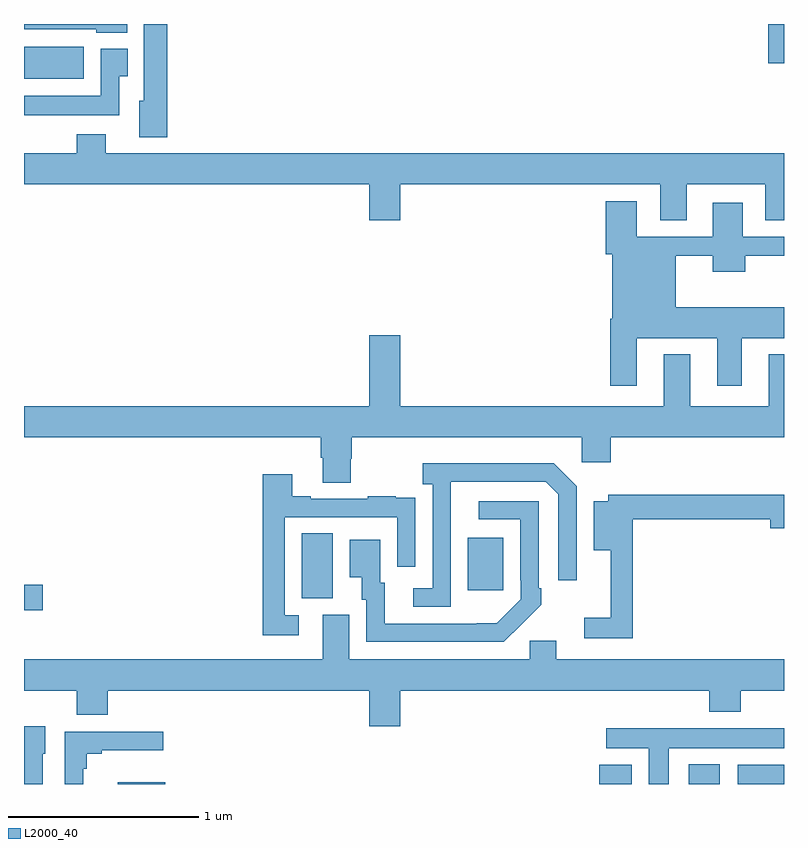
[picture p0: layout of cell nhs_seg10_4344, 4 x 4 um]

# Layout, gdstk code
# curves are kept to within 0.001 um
import gdstk
lib = gdstk.Library(unit=1e-6, precision=1e-09)
def R(c, l, rs):  # rectangles x0, y0, x1, y1
    for r in rs: c.add(gdstk.rectangle(r[:2], r[2:], *l))
def P(c, l, *ps):  # polygons
    for p in ps: c.add(gdstk.Polygon(p, *l))
L2000_40 = (2000, 40)

nhs_seg10_4344 = lib.new_cell('nhs_seg10_4344')
R(nhs_seg10_4344, L2000_40, [(355.493,1290.5,355.744,1290.508), (358.028,1290.5,358.198,1290.601), (358.499,1290.5,358.663,1290.604), (358.757,1290.5,359,1290.601), (355,1291.415,355.099,1291.55), (356.462,1291.477,356.626,1291.82), (357.335,1291.521,357.523,1291.795), (355,1294.211,355.315,1294.381), (358.916,1294.293,359,1294.5)])
P(nhs_seg10_4344, L2000_40, [(355.754,1294.5),(355.631,1294.5),(355.631,1294.095),(355.607,1294.095),(355.607,1293.905),(355.754,1293.905)],
  [(355.543,1294.5),(355,1294.5),(355,1294.472),(355.38,1294.472),(355.38,1294.454),(355.543,1294.454)],
  [(355.501,1294.225),(355.546,1294.225),(355.546,1294.369),(355.404,1294.369),(355.404,1294.123),(355,1294.123),(355,1294.019),(355.501,1294.019)],
  [(358.489,1293.656),(358.901,1293.656),(358.901,1293.466),(359,1293.466),(359,1293.82),(355.429,1293.82),(355.429,1293.919),(355.277,1293.919),(355.277,1293.82),(355,1293.82),(355,1293.656),(356.816,1293.656),(356.816,1293.468),(356.98,1293.468),(356.98,1293.656),(358.349,1293.656),(358.349,1293.466),(358.489,1293.466)],
  [(358.225,1292.846),(358.649,1292.846),(358.649,1292.595),(358.777,1292.595),(358.777,1292.846),(359,1292.846),(359,1293.01),(358.429,1293.01),(358.429,1293.28),(358.625,1293.28),(358.625,1293.197),(358.796,1293.197),(358.796,1293.28),(359,1293.28),(359,1293.381),(358.783,1293.381),(358.783,1293.559),(358.625,1293.559),(358.625,1293.381),(358.225,1293.381),(358.225,1293.568),(358.061,1293.568),(358.061,1293.288),(358.097,1293.288),(358.097,1292.95),(358.085,1292.95),(358.085,1292.595),(358.225,1292.595)],
  [(356.721,1292.211),(356.726,1292.211),(356.726,1292.324),(357.936,1292.324),(357.936,1292.193),(358.088,1292.193),(358.088,1292.324),(359,1292.324),(359,1292.761),(358.919,1292.761),(358.919,1292.488),(358.507,1292.488),(358.507,1292.761),(358.367,1292.761),(358.367,1292.488),(356.98,1292.488),(356.98,1292.863),(356.816,1292.863),(356.816,1292.488),(355,1292.488),(355,1292.324),(356.561,1292.324),(356.561,1292.218),(356.573,1292.218),(356.573,1292.086),(356.721,1292.086)],
  [(357.246,1291.891),(357.247,1292.091),(357.747,1292.091),(357.813,1292.025),(357.813,1291.572),(357.909,1291.572),(357.909,1292.067),(357.788,1292.188),(357.099,1292.188),(357.099,1292.078),(357.15,1292.078),(357.15,1291.53),(357.048,1291.53),(357.048,1291.434),(357.246,1291.434)],
  [(356.446,1291.389),(356.373,1291.389),(356.373,1291.905),(356.964,1291.905),(356.964,1291.644),(357.06,1291.644),(357.06,1291.898),(357.059,1291.898),(357.059,1292.007),(356.957,1292.007),(356.957,1292.014),(356.809,1292.014),(356.809,1292.001),(356.509,1292.001),(356.509,1292.014),(356.413,1292.014),(356.413,1292.131),(356.257,1292.131),(356.257,1291.284),(356.446,1291.284)],
  [(358.205,1291.894),(358.928,1291.894),(358.928,1291.847),(359,1291.847),(359,1292.023),(358.074,1292.023),(358.074,1291.987),(357.998,1291.987),(357.998,1291.73),(358.088,1291.73),(358.088,1291.375),(357.948,1291.375),(357.948,1291.266),(358.205,1291.266)],
  [(357.617,1291.339),(357.618,1291.338),(357.723,1291.443),(357.723,1291.531),(357.708,1291.531),(357.708,1291.989),(357.393,1291.989),(357.393,1291.893),(357.612,1291.893),(357.612,1291.573),(357.615,1291.573),(357.615,1291.473),(357.487,1291.345),(356.899,1291.344),(356.899,1291.56),(356.875,1291.56),(356.875,1291.786),(356.714,1291.786),(356.714,1291.589),(356.777,1291.589),(356.777,1291.47),(356.802,1291.47),(356.802,1291.248),(357.526,1291.248)],
  [(356.98,1290.992),(358.607,1290.992),(358.607,1290.881),(358.772,1290.881),(358.772,1290.992),(359,1290.992),(359,1291.156),(357.802,1291.156),(357.802,1291.254),(357.663,1291.254),(357.663,1291.156),(356.713,1291.156),(356.713,1291.392),(356.573,1291.392),(356.573,1291.156),(355,1291.156),(355,1290.992),(355.277,1290.992),(355.277,1290.864),(355.441,1290.864),(355.441,1290.992),(356.816,1290.992),(356.816,1290.804),(356.98,1290.804)],
  [(355.098,1290.66),(355.111,1290.66),(355.111,1290.805),(355.002,1290.805),(355.002,1290.619),(355,1290.619),(355,1290.522),(355.002,1290.522),(355.002,1290.5),(355.098,1290.5)],
  [(358.393,1290.689),(359,1290.689),(359,1290.793),(358.065,1290.793),(358.065,1290.689),(358.289,1290.689),(358.289,1290.5),(358.393,1290.5)],
  [(355.313,1290.581),(355.331,1290.581),(355.331,1290.658),(355.408,1290.658),(355.408,1290.677),(355.732,1290.677),(355.732,1290.774),(355.215,1290.774),(355.215,1290.5),(355.313,1290.5)])

lib.write_gds('nhs_seg10_4344.gds')
